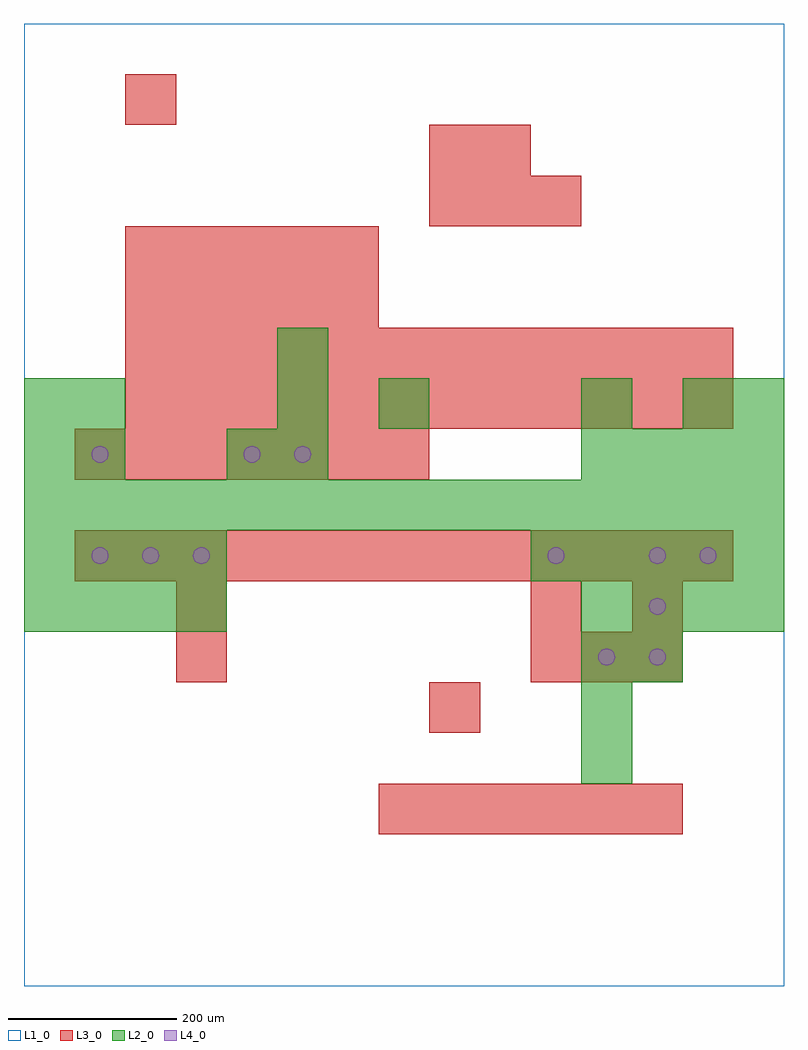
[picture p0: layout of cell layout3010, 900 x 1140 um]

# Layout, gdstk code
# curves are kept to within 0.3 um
import gdstk
lib = gdstk.Library(unit=1e-6, precision=1e-09)
def R(c, l, rs):  # rectangles x0, y0, x1, y1
    for r in rs: c.add(gdstk.rectangle(r[:2], r[2:], *l))
def A(c, l, x, y, w, h, nx, ny, dx, dy):  # array of equal rectangles
    R(c, l, [(x+i*dx, y+j*dy, x+i*dx+w, y+j*dy+h) for i in range(nx) for j in range(ny)])
def P(c, l, *ps):  # polygons
    for p in ps: c.add(gdstk.Polygon(p, *l))
L1_0 = (1, 0)
L2_0 = (2, 0)
L3_0 = (3, 0)
L4_0 = (4, 0)

layout3010 = lib.new_cell('layout3010')
R(layout3010, L1_0, [(0,0,900,1140)])
A(layout3010, L2_0, 660, 240, 60, 60, 1, 3, 0, 60)
A(layout3010, L2_0, 0, 420, 60, 60, 4, 2, 60, 60)
A(layout3010, L2_0, 660, 420, 60, 60, 4, 2, 60, 180)
A(layout3010, L2_0, 600, 480, 60, 60, 5, 1, 60, 0)
A(layout3010, L2_0, 0, 540, 60, 60, 15, 1, 60, 0)
A(layout3010, L2_0, 300, 600, 60, 60, 1, 3, 0, 60)
R(layout3010, L2_0, [(720,360,780,420), (0,600,60,660), (60,600,120,660), (240,600,300,660), (0,660,60,720), (60,660,120,720), (420,660,480,720), (660,660,720,720), (780,660,840,720), (840,660,900,720)])
A(layout3010, L3_0, 420, 180, 60, 60, 6, 1, 60, 0)
A(layout3010, L3_0, 600, 360, 60, 60, 3, 1, 60, 0)
A(layout3010, L3_0, 60, 480, 60, 60, 13, 1, 60, 0)
A(layout3010, L3_0, 60, 600, 60, 60, 7, 1, 60, 0)
A(layout3010, L3_0, 120, 660, 60, 60, 12, 2, 60, 60)
A(layout3010, L3_0, 120, 780, 60, 60, 5, 2, 60, 60)
A(layout3010, L3_0, 480, 900, 60, 60, 3, 1, 60, 0)
R(layout3010, L3_0, [(480,300,540,360), (180,360,240,420), (180,420,240,480), (600,420,660,480), (720,420,780,480), (480,960,540,1020), (540,960,600,1020), (120,1020,180,1080)])
P(layout3010, L4_0, [(100,510),(99.239,513.827),(97.071,517.071),(93.827,519.239),(90,520),(86.173,519.239),(82.929,517.071),(80.761,513.827),(80,510),(80.761,506.173),(82.929,502.929),(86.173,500.761),(90,500),(93.827,500.761),(97.071,502.929),(99.239,506.173)],
  [(100,630),(99.239,633.827),(97.071,637.071),(93.827,639.239),(90,640),(86.173,639.239),(82.929,637.071),(80.761,633.827),(80,630),(80.761,626.173),(82.929,622.929),(86.173,620.761),(90,620),(93.827,620.761),(97.071,622.929),(99.239,626.173)],
  [(160,510),(159.239,513.827),(157.071,517.071),(153.827,519.239),(150,520),(146.173,519.239),(142.929,517.071),(140.761,513.827),(140,510),(140.761,506.173),(142.929,502.929),(146.173,500.761),(150,500),(153.827,500.761),(157.071,502.929),(159.239,506.173)],
  [(220,510),(219.239,513.827),(217.071,517.071),(213.827,519.239),(210,520),(206.173,519.239),(202.929,517.071),(200.761,513.827),(200,510),(200.761,506.173),(202.929,502.929),(206.173,500.761),(210,500),(213.827,500.761),(217.071,502.929),(219.239,506.173)],
  [(280,630),(279.239,633.827),(277.071,637.071),(273.827,639.239),(270,640),(266.173,639.239),(262.929,637.071),(260.761,633.827),(260,630),(260.761,626.173),(262.929,622.929),(266.173,620.761),(270,620),(273.827,620.761),(277.071,622.929),(279.239,626.173)],
  [(340,630),(339.239,633.827),(337.071,637.071),(333.827,639.239),(330,640),(326.173,639.239),(322.929,637.071),(320.761,633.827),(320,630),(320.761,626.173),(322.929,622.929),(326.173,620.761),(330,620),(333.827,620.761),(337.071,622.929),(339.239,626.173)],
  [(640,510),(639.239,513.827),(637.071,517.071),(633.827,519.239),(630,520),(626.173,519.239),(622.929,517.071),(620.761,513.827),(620,510),(620.761,506.173),(622.929,502.929),(626.173,500.761),(630,500),(633.827,500.761),(637.071,502.929),(639.239,506.173)],
  [(700,390),(699.239,393.827),(697.071,397.071),(693.827,399.239),(690,400),(686.173,399.239),(682.929,397.071),(680.761,393.827),(680,390),(680.761,386.173),(682.929,382.929),(686.173,380.761),(690,380),(693.827,380.761),(697.071,382.929),(699.239,386.173)],
  [(760,390),(759.239,393.827),(757.071,397.071),(753.827,399.239),(750,400),(746.173,399.239),(742.929,397.071),(740.761,393.827),(740,390),(740.761,386.173),(742.929,382.929),(746.173,380.761),(750,380),(753.827,380.761),(757.071,382.929),(759.239,386.173)],
  [(760,450),(759.239,453.827),(757.071,457.071),(753.827,459.239),(750,460),(746.173,459.239),(742.929,457.071),(740.761,453.827),(740,450),(740.761,446.173),(742.929,442.929),(746.173,440.761),(750,440),(753.827,440.761),(757.071,442.929),(759.239,446.173)],
  [(760,510),(759.239,513.827),(757.071,517.071),(753.827,519.239),(750,520),(746.173,519.239),(742.929,517.071),(740.761,513.827),(740,510),(740.761,506.173),(742.929,502.929),(746.173,500.761),(750,500),(753.827,500.761),(757.071,502.929),(759.239,506.173)],
  [(820,510),(819.239,513.827),(817.071,517.071),(813.827,519.239),(810,520),(806.173,519.239),(802.929,517.071),(800.761,513.827),(800,510),(800.761,506.173),(802.929,502.929),(806.173,500.761),(810,500),(813.827,500.761),(817.071,502.929),(819.239,506.173)])

lib.write_gds('layout3010.gds')
